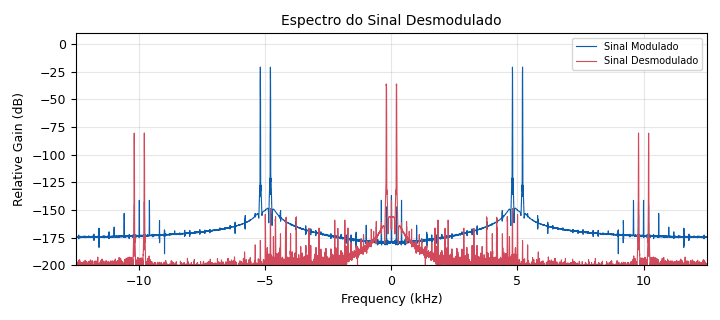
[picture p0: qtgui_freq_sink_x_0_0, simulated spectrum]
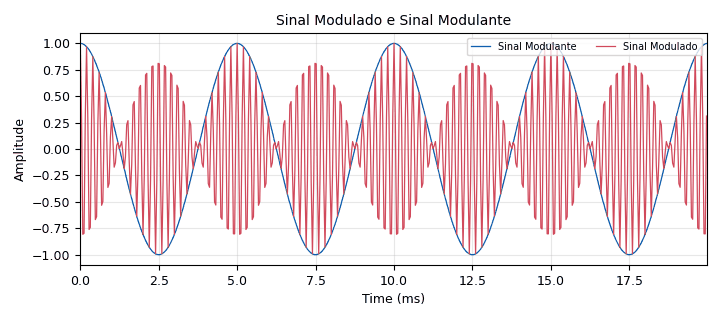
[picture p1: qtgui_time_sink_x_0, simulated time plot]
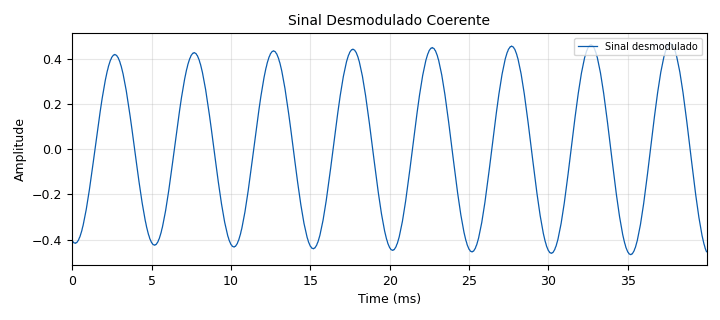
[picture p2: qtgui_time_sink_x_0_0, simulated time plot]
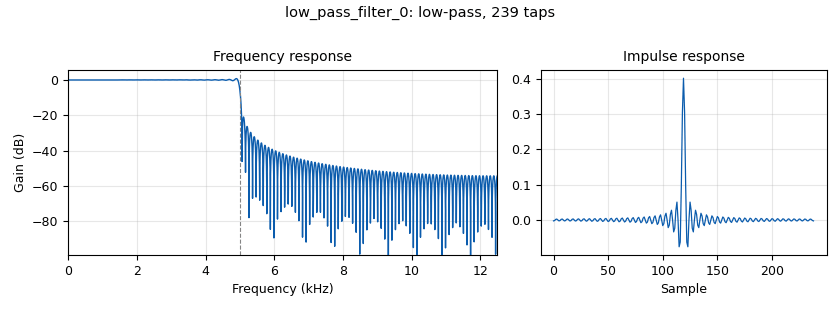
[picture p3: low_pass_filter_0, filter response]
options:
  parameters:
    category: Custom
    generate_options: qt_gui
    id: Labo3_2
    output_language: python
    title: Desmodulação síncrona de AM-DSB-SC
  states: {}

blocks:
- name: A
  id: variable_qtgui_range
  parameters:
    gui_hint: 2,0,1,1
    label: Amp. Portadora
    outputmsgname: value
    showports: 'False'
    start: '0'
    step: '0.1'
    stop: '3'
    value: '0'
  states: {}
- name: samp_rate
  id: variable
  parameters:
    value: '25000'
  states: {}
- name: Amplitude_Portadora
  id: analog_const_source_x
  parameters:
    const: A
    type: float
  states: {}
- name: Portadora
  id: analog_sig_source_x
  parameters:
    amp: '1'
    freq: '5000'
    offset: '0'
    phase: '0'
    samp_rate: samp_rate
    type: float
    waveform: analog.GR_COS_WAVE
  states: {}
- name: Portadora_0
  id: analog_sig_source_x
  parameters:
    amp: '1'
    freq: '5001'
    offset: '0'
    phase: '0'
    samp_rate: samp_rate
    type: float
    waveform: analog.GR_COS_WAVE
  states: {}
- name: Sinal_Modulante
  id: analog_sig_source_x
  parameters:
    amp: '1'
    freq: '200'
    offset: '0'
    phase: '0'
    samp_rate: samp_rate
    type: float
    waveform: analog.GR_COS_WAVE
  states: {}
- name: blocks_add_xx_0
  id: blocks_add_xx
  parameters:
    type: float
  states: {}
- name: blocks_delay_0
  id: blocks_delay
  parameters:
    delay: '0'
    type: float
  states: {}
- name: blocks_multiply_xx_0
  id: blocks_multiply_xx
  parameters:
    type: float
  states: {}
- name: blocks_multiply_xx_0_0
  id: blocks_multiply_xx
  parameters:
    type: float
  states: {}
- name: blocks_throttle_0
  id: blocks_throttle
  parameters:
    samples_per_second: samp_rate
    type: float
  states: {}
- name: dc_blocker_xx_0
  id: dc_blocker_xx
  parameters:
    length: '600'
    long_form: 'True'
    type: ff
  states: {}
- name: low_pass_filter_0
  id: low_pass_filter
  parameters:
    cutoff_freq: '5000'
    decim: '1'
    gain: '1'
    samp_rate: samp_rate
    type: fir_filter_fff
    width: '100'
    win: window.WIN_RECTANGULAR
  states: {}
- name: qtgui_freq_sink_x_0_0
  id: qtgui_freq_sink_x
  parameters:
    bw: samp_rate
    fc: '0'
    fftsize: 2**13
    grid: 'True'
    gui_hint: 0,1,1,1
    label1: Sinal Modulado
    label2: Sinal Desmodulado
    name: Espectro do Sinal Desmodulado
    nconnections: '2'
    showports: 'True'
    type: float
    ymin: '-200'
  states: {}
- name: qtgui_time_sink_x_0
  id: qtgui_time_sink_x
  parameters:
    autoscale: 'True'
    grid: 'True'
    gui_hint: 0,0,1,1
    label1: Sinal Modulante
    label2: Sinal Modulado
    name: Sinal Modulado e Sinal Modulante
    nconnections: '2'
    size: '500'
    srate: samp_rate
    tr_level: '1'
    type: float
    ymax: '3'
    ymin: '-3'
  states: {}
- name: qtgui_time_sink_x_0_0
  id: qtgui_time_sink_x
  parameters:
    autoscale: 'True'
    label1: Sinal desmodulado
    name: Sinal Desmodulado Coerente
    size: '1000'
    srate: samp_rate
    tr_level: '1'
    type: float
  states: {}

connections:
- [Amplitude_Portadora, '0', blocks_add_xx_0, '1']
- [Portadora, '0', blocks_throttle_0, '0']
- [Portadora_0, '0', blocks_delay_0, '0']
- [Sinal_Modulante, '0', blocks_add_xx_0, '0']
- [Sinal_Modulante, '0', qtgui_time_sink_x_0, '0']
- [blocks_add_xx_0, '0', blocks_multiply_xx_0, '0']
- [blocks_delay_0, '0', blocks_multiply_xx_0_0, '1']
- [blocks_multiply_xx_0, '0', blocks_multiply_xx_0_0, '0']
- [blocks_multiply_xx_0, '0', qtgui_freq_sink_x_0_0, '0']
- [blocks_multiply_xx_0, '0', qtgui_time_sink_x_0, '1']
- [blocks_multiply_xx_0_0, '0', low_pass_filter_0, '0']
- [blocks_throttle_0, '0', blocks_multiply_xx_0, '1']
- [dc_blocker_xx_0, '0', qtgui_freq_sink_x_0_0, '1']
- [dc_blocker_xx_0, '0', qtgui_time_sink_x_0_0, '0']
- [low_pass_filter_0, '0', dc_blocker_xx_0, '0']

metadata:
  file_format: 1
  grc_version: 3.10.4.0
